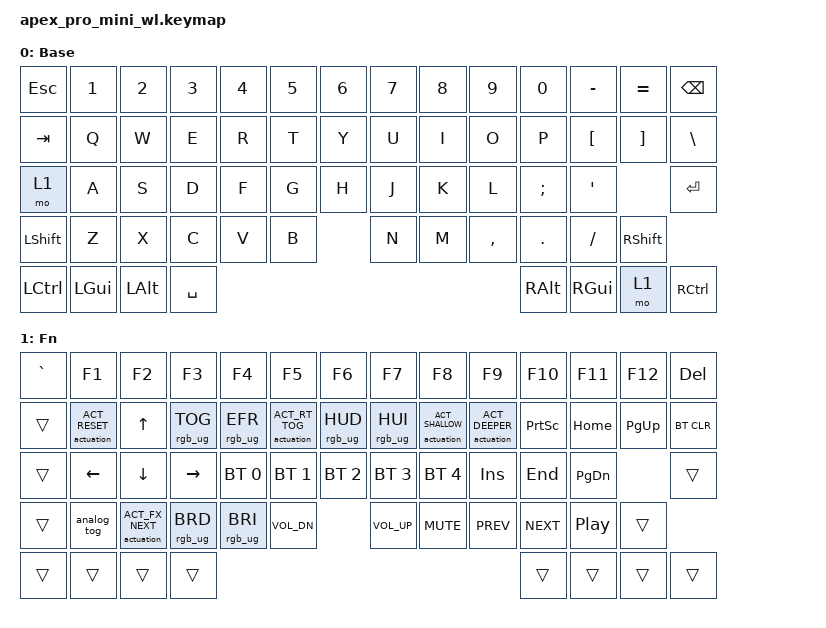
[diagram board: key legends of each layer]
/* SPDX-License-Identifier: MIT */

#include <behaviors.dtsi>
#include <dt-bindings/zmk/bt.h>
#include <dt-bindings/zmk/keys.h>
#include <dt-bindings/zmk/rgb.h>
#include <dt-bindings/apex_actuation.h>

/ {
    combos {
        compatible = "zmk,combos";

        /* Enter the Adafruit bootloader (UF2/serial DFU): hold Fn (layer 1)
         * and press Escape + Right-Ctrl together. A three-key, layer-gated
         * combo so it cannot be hit by accident. Key positions: ESC = 0,
         * Right-Ctrl = 60 (last key of the bottom row). */
        combo_bootloader {
            /* Allow 250 ms between the two presses. A key released before the
             * combo completes is emitted as a normal tap, so the window does not
             * delay a quick Fn+Esc (= GRAVE). */
            timeout-ms = <250>;
            key-positions = <0 60>;
            layers = <1>;
            bindings = <&apex_dfu>;
        };

        /* Unlock ZMK Studio: hold Fn (layer 1) and press Delete + Right-Ctrl
         * together. Physical positions: Delete = 13 (the Backspace/Del key,
         * top-right), Right-Ctrl = 60 (bottom-right). Layer-gated and three-key
         * so it cannot be hit by accident. */
        combo_studio_unlock {
            timeout-ms = <250>;
            key-positions = <13 60>;
            layers = <1>;
            bindings = <&studio_unlock>;
        };

        /* Toggle Studio's USB RPC on/off: hold Fn (layer 1) and press S +
         * Right-Ctrl together. Positions: S = 30, Right-Ctrl = 60. Off at boot
         * so the gamepad's USB endpoint is free; turning it on drops the
         * gamepad. Studio over Bluetooth is always available regardless. */
        combo_studio_usb {
            timeout-ms = <250>;
            key-positions = <30 60>;
            layers = <1>;
            bindings = <&studio_tog>;
        };
    };

    keymap {
        compatible = "zmk,keymap";

        /* Both Fn positions are momentary layer keys. The Caps Lock position
         * never sends Caps Lock, whether tapped or held. */
        default_layer {
            display-name = "Base";
            bindings = <
&kp ESC    &kp N1    &kp N2    &kp N3    &kp N4    &kp N5    &kp N6    &kp N7    &kp N8    &kp N9    &kp N0    &kp MINUS &kp EQUAL &kp BSPC
&kp TAB    &kp Q     &kp W     &kp E     &kp R     &kp T     &kp Y     &kp U     &kp I     &kp O     &kp P     &kp LBKT  &kp RBKT  &kp BSLH
&mo 1      &kp A     &kp S     &kp D     &kp F     &kp G     &kp H     &kp J     &kp K     &kp L     &kp SEMI  &kp SQT              &kp RET
&kp LSHFT  &kp Z     &kp X     &kp C     &kp V     &kp B     &kp N     &kp M     &kp COMMA &kp DOT   &kp FSLH              &kp RSHFT
&kp LCTRL  &kp LGUI  &kp LALT                         &kp SPACE                                  &kp RALT  &kp RGUI  &mo 1      &kp RCTRL
            >;
        };

        /* The Fn layer follows the printed legends where ZMK has an equivalent.
         * Q adjusts release sensitivity, Z toggles the optional USB gamepad,
         * and X cycles the custom lighting effects. See docs/KEYMAP.md. */
        function_layer {
            display-name = "Fn";
            bindings = <
&kp GRAVE  &kp F1    &kp F2    &kp F3    &kp F4    &kp F5    &kp F6    &kp F7    &kp F8    &kp F9    &kp F10   &kp F11   &kp F12   &kp DEL
&trans     &actuation ACT_RESET &kp UP &rgb_ug RGB_TOG &rgb_ug RGB_EFR &actuation ACT_RT_TOG &rgb_ug RGB_HUD &rgb_ug RGB_HUI &actuation ACT_SHALLOW &actuation ACT_DEEPER &kp PSCRN &kp HOME &kp PG_UP &bt BT_CLR
&trans     &kp LEFT &kp DOWN &kp RIGHT &bt BT_SEL 0 &bt BT_SEL 1 &bt BT_SEL 2 &bt BT_SEL 3 &bt BT_SEL 4 &kp INS &kp END &kp PG_DN     &trans
&trans     &analog_tog &actuation ACT_FX_NEXT &rgb_ug RGB_BRD &rgb_ug RGB_BRI &kp C_VOL_DN &kp C_VOL_UP &kp C_MUTE &kp C_PREV &kp C_NEXT &kp C_PP      &trans
&trans     &trans   &trans                          &trans                                     &trans     &trans   &trans     &trans
            >;
        };
    };
};
